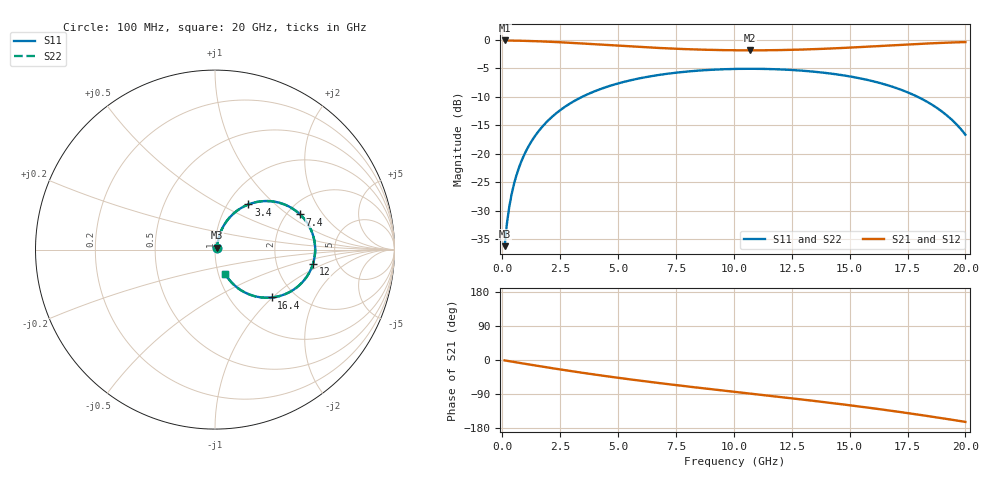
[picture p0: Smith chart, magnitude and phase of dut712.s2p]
! Touchstone file exported from HFSS 2026.1.0
!  File:  C:/ffzhzh/LocalFiles/Ansys_Project_Files/temp_train_TSV_RDL_712_1783200428_22436.aedt
!  Generated:  05:38:59 AM Jul  5, 2026
!  Design:  TSV_RDL
!  Project:  temp_train_TSV_RDL_712_1783200428_22436
! Variables:
!  h_bsmrdl = 5.57um
!  h_ox = 20um
!  h_rdl = 5um
!  h_sub = 53.54um
!  h_tmrdl = 2.51um
!  h_tsv = 53.54um
!  h_via = 3um
!  l_bsmrdl = 617.12um
!  l_sub = 3019.09um
!  l_tmrdl = 154.62um
!  m_sub = 200um
!  pitch = 54.89um
!  r_tsv = 5.78um
!  s_tmrdl = 10um
!  w_bsmrdl = 23.42um
!  w_sub = 500um
!  w_tmrdl = 26.33um
!  x_tsv_center1 = 167.785um
!  x_tsv_center2 = 808.325um
!  x_tsv_center3 = 989.275um
!  x_tsv_center4 = 1629.815um
!  x_tsv_center5 = 1810.765um
!  x_tsv_center6 = 2451.305um
# GHz S MA R 50.000000
! Terminal data exported
! Port[1] = TM_RDL1_1_T1
! Port[2] = TM_RDL5_1_T1
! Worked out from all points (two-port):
!   200 points, 100 MHz to 20 GHz, reference 50 ohm
!   highest |S21| = -0.10 dB at 100 MHz (marker M1); lowest = -1.8 dB at 10.7 GHz (marker M2)
!   |S21| within 3 dB of the highest: start of sweep to end of sweep
!   lowest |S11| = -36.2 dB at 100 MHz (marker M3), VSWR 1.03, Z = 51.1 + j1.11 ohm
!   |S11| at or under -10 dB: start of sweep to 3.442 GHz; 17.95 GHz to end of sweep
!   |S22| runs from -36.2 to -5.1 dB; largest |S21 - S12| = 1.2e-12
!   S11 on the Smith chart (normalised r, x): 100 MHz: 1.02, +0.02; 3.4 GHz: 1.24, +0.69; 7.4 GHz: 2.34, +1.24; 12 GHz: 3.26, -0.77; 16.4 GHz: 1.54, -0.99; 20 GHz: 1.08, -0.30
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0.1  0.01552 44.1  0.989 -1.1  0.989 -1.1  0.01552 44.1
! Gamma 0 0 0 0
! Port Impedance 50 0 50 0
0.2  0.02454 60.1  0.9884 -2.1  0.9884 -2.1  0.02454 60.1
0.4  0.04409 69.6  0.9867 -4.2  0.9867 -4.2  0.04409 69.6
0.7  0.07381 72.6  0.984 -7.2  0.984 -7.2  0.07381 72.6
1  0.1035 72.2  0.9807 -10.2  0.9807 -10.2  0.1035 72.2
1.4  0.1423 70.0  0.9752 -14.2  0.9752 -14.2  0.1423 70.0
2  0.1982 65.4  0.9644 -20.1  0.9644 -20.1  0.1982 65.4
3.4  0.3132 53.5  0.9315 -33.2  0.9315 -33.2  0.3132 53.5
3.5  0.3205 52.6  0.9289 -34.1  0.9289 -34.1  0.3205 52.6
5.1  0.4205 39.6  0.8874 -47.8  0.8874 -47.8  0.4205 39.6
6.8  0.4941 26.8  0.8491 -61.1  0.8491 -61.1  0.4942 26.8
7.4  0.5129 22.5  0.8383 -65.5  0.8383 -65.5  0.5129 22.5
10.1  0.5567 4.1  0.811 -84.5  0.811 -84.5  0.5567 4.1
10.7  0.5581 0.1  0.81 -88.6  0.81 -88.6  0.5582 0.1
12  0.5512 -8.6  0.8145 -97.6  0.8145 -97.6  0.5512 -8.6
13.4  0.5278 -18.1  0.8288 -107.5  0.8288 -107.5  0.5278 -18.2
15  0.4788 -29.6  0.8558 -119.4  0.8558 -119.4  0.4788 -29.6
16.4  0.4139 -40.1  0.886 -130.6  0.886 -130.6  0.4139 -40.2
16.7  0.3971 -42.5  0.8929 -133.1  0.8929 -133.1  0.3971 -42.5
18.6  0.2669 -57.6  0.935 -150.0  0.935 -150.0  0.2669 -57.6
19.4  0.2006 -63.5  0.9491 -157.5  0.9491 -157.5  0.2006 -63.6
20  0.1474 -67.2  0.9572 -163.3  0.9572 -163.3  0.1474 -67.3
